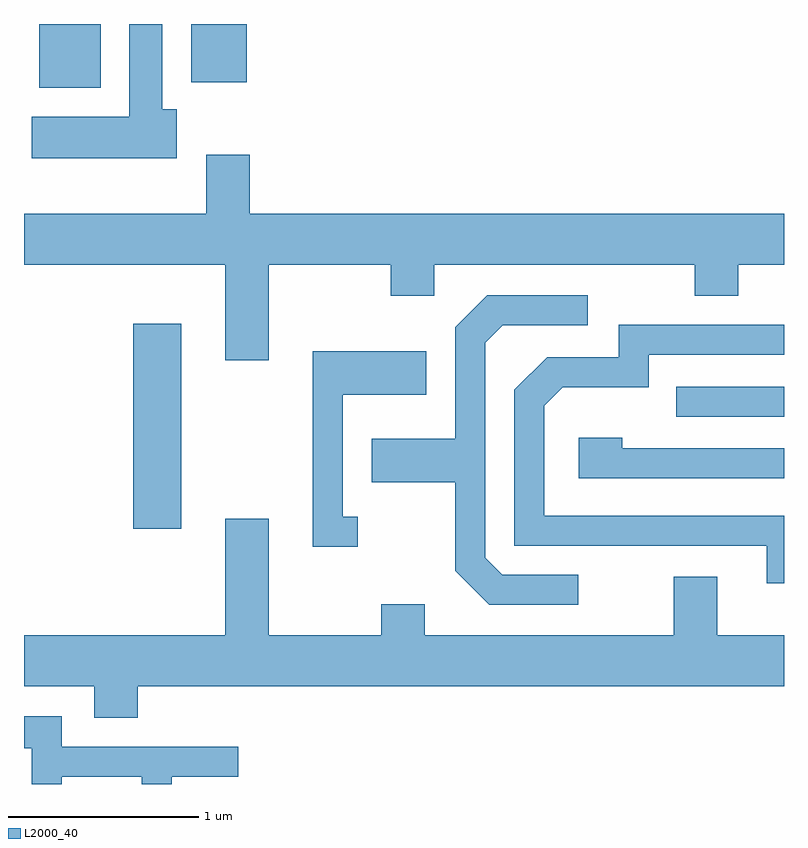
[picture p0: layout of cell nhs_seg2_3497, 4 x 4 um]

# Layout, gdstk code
import gdstk
lib = gdstk.Library(unit=1e-6, precision=1e-09)
def R(c, l, rs):  # rectangles x0, y0, x1, y1
    for r in rs: c.add(gdstk.rectangle(r[:2], r[2:], *l))
def P(c, l, *ps):  # polygons
    for p in ps: c.add(gdstk.Polygon(p, *l))
L2000_40 = (2000, 40)

nhs_seg2_3497 = lib.new_cell('nhs_seg2_3497')
R(nhs_seg2_3497, L2000_40, [(288.186,1049.146,288.439,1050.224), (291.043,1049.736,291.611,1049.894), (287.691,1051.466,288.014,1051.802), (288.491,1051.496,288.784,1051.802)])
P(nhs_seg2_3497, L2000_40, [(288.414,1051.354),(288.339,1051.354),(288.339,1051.802),(288.166,1051.802),(288.166,1051.314),(287.651,1051.314),(287.651,1051.096),(288.414,1051.096)],
  [(288.899,1050.536),(289.541,1050.536),(289.541,1050.371),(289.769,1050.371),(289.769,1050.536),(291.141,1050.536),(291.141,1050.371),(291.369,1050.371),(291.369,1050.536),(291.611,1050.536),(291.611,1050.804),(288.799,1050.804),(288.799,1051.114),(288.571,1051.114),(288.571,1050.804),(287.611,1050.804),(287.611,1050.536),(288.671,1050.536),(288.671,1050.031),(288.899,1050.031)],
  [(290.528,1048.904),(290.127,1048.904),(290.039,1048.992),(290.039,1050.124),(290.132,1050.216),(290.578,1050.216),(290.578,1050.374),(290.049,1050.374),(289.881,1050.207),(289.881,1049.619),(289.441,1049.619),(289.441,1049.391),(289.881,1049.391),(289.881,1048.924),(290.059,1048.746),(290.528,1048.746)],
  [(291.611,1049.214),(290.349,1049.214),(290.349,1049.794),(290.447,1049.891),(290.899,1049.891),(290.899,1050.061),(291.611,1050.061),(291.611,1050.219),(290.741,1050.219),(290.741,1050.049),(290.364,1050.049),(290.191,1049.877),(290.191,1049.056),(291.521,1049.056),(291.521,1048.858),(291.611,1048.858)],
  [(289.368,1049.209),(289.289,1049.209),(289.289,1049.851),(289.729,1049.851),(289.729,1050.079),(289.131,1050.079),(289.131,1049.051),(289.368,1049.051)],
  [(291.611,1049.569),(290.759,1049.569),(290.759,1049.624),(290.531,1049.624),(290.531,1049.411),(291.611,1049.411)],
  [(288.209,1048.316),(291.611,1048.316),(291.611,1048.584),(291.259,1048.584),(291.259,1048.894),(291.031,1048.894),(291.031,1048.584),(289.719,1048.584),(289.719,1048.749),(289.491,1048.749),(289.491,1048.584),(288.899,1048.584),(288.899,1049.199),(288.671,1049.199),(288.671,1048.584),(287.611,1048.584),(287.611,1048.316),(287.981,1048.316),(287.981,1048.151),(288.209,1048.151)],
  [(287.809,1047.841),(288.231,1047.841),(288.231,1047.802),(288.389,1047.802),(288.389,1047.841),(288.738,1047.841),(288.738,1047.999),(287.809,1047.999),(287.809,1048.159),(287.611,1048.159),(287.611,1047.991),(287.651,1047.991),(287.651,1047.802),(287.809,1047.802)])

lib.write_gds('nhs_seg2_3497.gds')
